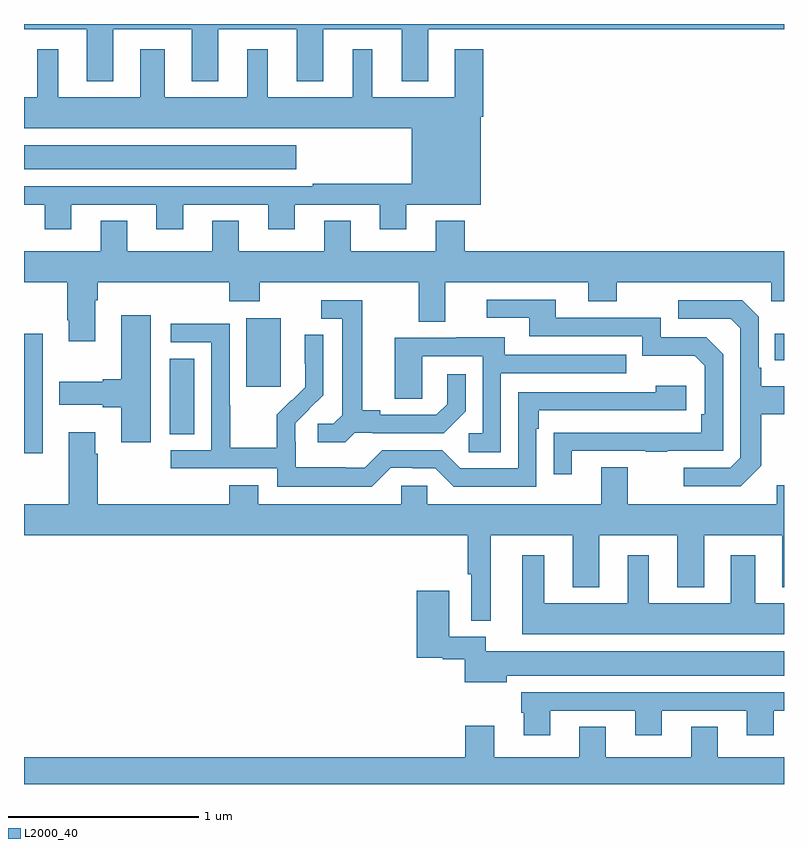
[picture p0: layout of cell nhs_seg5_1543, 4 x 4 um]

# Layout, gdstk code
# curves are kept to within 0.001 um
import gdstk
lib = gdstk.Library(unit=1e-6, precision=1e-09)
def R(c, l, rs):  # rectangles x0, y0, x1, y1
    for r in rs: c.add(gdstk.rectangle(r[:2], r[2:], *l))
def P(c, l, *ps):  # polygons
    for p in ps: c.add(gdstk.Polygon(p, *l))
L2000_40 = (2000, 40)

nhs_seg5_1543 = lib.new_cell('nhs_seg5_1543')
R(nhs_seg5_1543, L2000_40, [(205.766,842.641,205.897,843.038), (206.171,842.889,206.35,843.25), (208.951,843.029,209,843.169), (205,844.034,206.434,844.162)])
P(nhs_seg5_1543, L2000_40, [(205.471,844.772),(205.883,844.772),(205.883,844.499),(206.023,844.499),(206.023,844.772),(206.435,844.772),(206.435,844.499),(206.575,844.499),(206.575,844.772),(206.987,844.772),(206.987,844.499),(207.127,844.499),(207.127,844.772),(209,844.772),(209,844.799),(205,844.799),(205,844.772),(205.331,844.772),(205.331,844.499),(205.471,844.499)],
  [(205.249,843.849),(205.697,843.849),(205.697,843.72),(205.837,843.72),(205.837,843.849),(206.285,843.849),(206.285,843.72),(206.425,843.72),(206.425,843.849),(206.873,843.849),(206.873,843.72),(207.013,843.72),(207.013,843.848),(207.403,843.848),(207.403,844.31),(207.416,844.31),(207.416,844.666),(207.266,844.666),(207.266,844.414),(206.833,844.414),(206.833,844.666),(206.729,844.666),(206.729,844.414),(206.284,844.414),(206.284,844.666),(206.174,844.666),(206.174,844.414),(205.741,844.414),(205.741,844.666),(205.613,844.666),(205.613,844.414),(205.18,844.414),(205.18,844.666),(205.07,844.666),(205.07,844.414),(205,844.414),(205,844.25),(207.041,844.25),(207.041,843.958),(206.521,843.958),(206.521,843.945),(205,843.945),(205,843.849),(205.109,843.849),(205.109,843.72),(205.249,843.72)],
  [(205.375,843.344),(205.388,843.344),(205.388,843.44),(206.081,843.44),(206.081,843.341),(206.241,843.341),(206.241,843.44),(207.077,843.44),(207.077,843.232),(207.217,843.232),(207.217,843.44),(207.971,843.44),(207.971,843.341),(208.119,843.341),(208.119,843.44),(208.932,843.44),(208.932,843.341),(209,843.341),(209,843.604),(207.32,843.604),(207.32,843.763),(207.167,843.763),(207.167,843.604),(206.719,843.604),(206.719,843.764),(206.579,843.764),(206.579,843.604),(206.131,843.604),(206.131,843.764),(205.991,843.764),(205.991,843.604),(205.543,843.604),(205.543,843.764),(205.403,843.764),(205.403,843.604),(205,843.604),(205,843.44),(205.228,843.44),(205.228,843.241),(205.235,843.241),(205.235,843.129),(205.375,843.129)],
  [(207.883,842.553),(208.273,842.553),(208.273,842.548),(208.385,842.548),(208.385,842.553),(208.68,842.553),(208.68,843.06),(208.59,843.15),(208.35,843.15),(208.35,843.252),(207.799,843.252),(207.799,843.348),(207.435,843.348),(207.435,843.252),(207.659,843.252),(207.659,843.156),(208.254,843.156),(208.254,843.053),(208.531,843.053),(208.584,843),(208.584,842.746),(208.564,842.746),(208.564,842.649),(207.787,842.648),(207.787,842.43),(207.883,842.43)],
  [(208.879,842.473),(208.879,842.746),(209,842.746),(209,842.893),(208.879,842.893),(208.879,842.989),(208.866,842.989),(208.866,843.258),(208.779,843.345),(208.443,843.345),(208.443,843.249),(208.719,843.249),(208.77,843.198),(208.77,842.517),(208.716,842.463),(208.473,842.463),(208.473,842.367),(208.773,842.367)],
  [(206.742,842.649),(206.836,842.649),(206.836,842.646),(207.208,842.646),(207.324,842.762),(207.324,842.956),(207.227,842.956),(207.227,842.799),(207.17,842.742),(206.875,842.742),(206.875,842.765),(206.779,842.765),(206.779,843.345),(206.565,843.345),(206.565,843.249),(206.675,843.249),(206.675,842.741),(206.628,842.694),(206.547,842.694),(206.547,842.597),(206.69,842.597)],
  [(205.666,843.265),(205.511,843.265),(205.511,842.93),(205.415,842.93),(205.415,842.917),(205.185,842.917),(205.185,842.795),(205.415,842.795),(205.415,842.783),(205.511,842.783),(205.511,842.598),(205.666,842.598)],
  [(206.931,842.463),(207.047,842.463),(207.047,842.46),(207.165,842.46),(207.261,842.364),(207.696,842.364),(207.696,842.669),(207.709,842.669),(207.709,842.766),(208.486,842.766),(208.486,842.896),(208.325,842.896),(208.325,842.862),(207.6,842.862),(207.6,842.46),(207.297,842.46),(207.201,842.556),(206.886,842.556),(206.793,842.463),(206.693,842.463),(206.693,842.467),(206.43,842.467),(206.43,842.601),(206.428,842.601),(206.428,842.698),(206.574,842.846),(206.574,843.164),(206.478,843.164),(206.478,843.01),(206.48,843.01),(206.48,842.888),(206.409,842.817),(206.406,842.82),(206.329,842.743),(206.329,842.569),(206.085,842.569),(206.085,842.792),(206.082,842.792),(206.082,843.222),(205.773,843.222),(205.773,843.123),(205.986,843.123),(205.986,842.556),(205.773,842.556),(205.773,842.46),(206.334,842.46),(206.334,842.363),(206.831,842.363)],
  [(205.098,843.169),(205,843.169),(205,842.933),(205.002,842.933),(205.002,842.654),(205,842.654),(205,842.541),(205.098,842.541)],
  [(207.51,842.961),(208.169,842.961),(208.169,843.057),(207.529,843.057),(207.529,843.151),(207.275,843.151),(207.275,843.147),(206.951,843.147),(206.951,842.827),(207.096,842.827),(207.096,843.051),(207.414,843.051),(207.414,842.646),(207.342,842.646),(207.342,842.545),(207.51,842.545)],
  [(207.457,842.108),(207.887,842.108),(207.887,841.835),(208.027,841.835),(208.027,842.108),(208.439,842.108),(208.439,841.835),(208.579,841.835),(208.579,842.108),(208.991,842.108),(208.991,841.835),(209,841.835),(209,842.371),(208.961,842.371),(208.961,842.272),(208.177,842.272),(208.177,842.467),(208.037,842.467),(208.037,842.272),(207.123,842.272),(207.123,842.37),(206.985,842.37),(206.985,842.272),(206.233,842.272),(206.233,842.371),(206.081,842.371),(206.081,842.272),(205.388,842.272),(205.388,842.537),(205.375,842.537),(205.375,842.65),(205.235,842.65),(205.235,842.272),(205,842.272),(205,842.108),(207.336,842.108),(207.336,841.903),(207.353,841.903),(207.353,841.659),(207.457,841.659)],
  [(209,841.75),(208.849,841.75),(208.849,842.002),(208.721,842.002),(208.721,841.75),(208.288,841.75),(208.288,842.002),(208.178,842.002),(208.178,841.75),(207.739,841.75),(207.739,842.002),(207.623,842.002),(207.623,841.586),(209,841.586)],
  [(207.541,841.37),(209,841.37),(209,841.498),(207.43,841.498),(207.43,841.573),(207.238,841.573),(207.238,841.816),(207.068,841.816),(207.068,841.463),(207.204,841.463),(207.204,841.456),(207.32,841.456),(207.32,841.334),(207.541,841.334)],
  [(207.769,841.185),(208.217,841.185),(208.217,841.056),(208.357,841.056),(208.357,841.185),(208.805,841.185),(208.805,841.056),(208.945,841.056),(208.945,841.185),(209,841.185),(209,841.281),(207.617,841.281),(207.617,841.173),(207.629,841.173),(207.629,841.056),(207.769,841.056)],
  [(209,840.94),(208.651,840.94),(208.651,841.1),(208.511,841.1),(208.511,840.94),(208.063,840.94),(208.063,841.1),(207.923,841.1),(207.923,840.94),(207.475,840.94),(207.475,841.105),(207.323,841.105),(207.323,840.94),(205,840.94),(205,840.799),(209,840.799)])

lib.write_gds('nhs_seg5_1543.gds')
